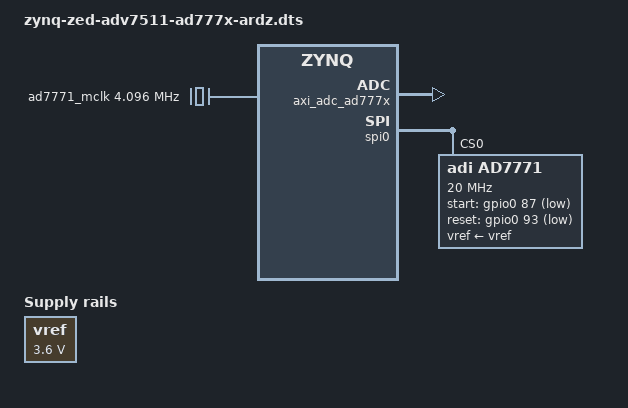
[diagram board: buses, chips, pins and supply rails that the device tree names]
// SPDX-License-Identifier: GPL-2.0
/*
 * Analog Devices AD7771
 *
 * hdl_project: <ad7771evb/zed>
 * board_revision: <>
 *
 * Copyright (C) 2023 Analog Devices Inc.
 */
/dts-v1/;

 #include "zynq-zed.dtsi"
 #include "zynq-zed-adv7511.dtsi"
 #include <dt-bindings/gpio/gpio.h>
 #include <dt-bindings/interrupt-controller/irq.h>

/ {
	 vref: regulator-vref {
		 compatible = "regulator-fixed";
		 regulator-name = "fixed-supply";
		 regulator-min-microvolt = <3600000>;
		 regulator-max-microvolt = <3600000>;
		 regulator-always-on;
	 };

	 clocks {
		 ad7771_mclk: clock@0 {
			 #clock-cells = <0>;
			 compatible = "fixed-clock";
			 clock-frequency = <4096000>;
		 };
	 };
};

&fpga_axi {
	 rx_dma: rx-dmac@0x7c480000 {
		 compatible = "adi,axi-dmac-1.00.a";
		 reg = <0x7c480000 0x10000>;
		 #dma-cells = <1>;
		 interrupts = <0 54 IRQ_TYPE_LEVEL_HIGH>;
		 clocks = <&clkc 16>;

		 adi,channels {
			 #size-cells = <0>;
			 #address-cells = <1>;

			 dma-channel@0 {
				 reg = <0>;
				 adi,source-bus-width = <256>;
				 adi,source-bus-type = <2>;
				 adi,destination-bus-width = <64>;
				 adi,destination-bus-type = <0>;
			 };
		 };
	 };

	 axi_adc_ad777x: cf_axi_ad777x@43c00000 {
		compatible = "adi,axi-adc-10.0.a";
		reg = <0x43c00000 0x10000>;
		dmas = <&rx_dma 0>;
		dma-names = "rx";
		spibus-connected = <&ad7771>;
	 };
};

&spi0 {
	 #address-cells = <1>;
	 #size-cells = <0>;
	 status = "okay";

	 ad7771: adc@0 {
		 compatible = "adi,ad7771";
		 reg = <0>;
		 spi-max-frequency = <20000000>;

		 vref-supply = <&vref>;

		 start-gpios = <&gpio0 87 GPIO_ACTIVE_LOW>;
		 reset-gpios = <&gpio0 93 GPIO_ACTIVE_LOW>;
		// uncomment following lines for enabling spi-mode
		//  interrupt-parent = <&intc>;
		//  interrupts = <0 56 IRQ_TYPE_LEVEL_HIGH>;

		 clocks = <&ad7771_mclk>;
		 clock-names = "mclk";
	 };
};
